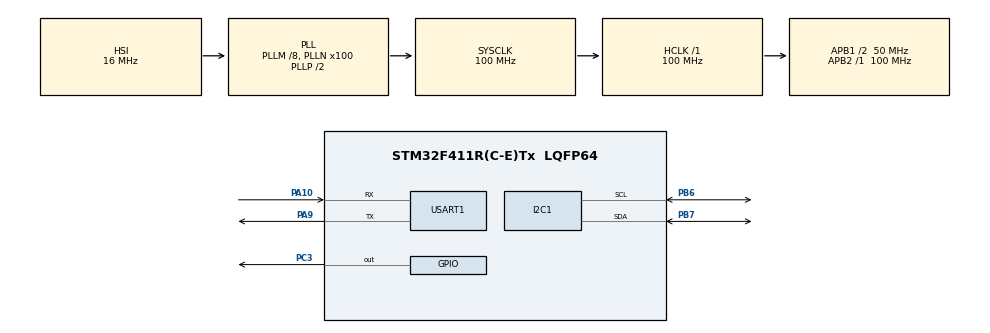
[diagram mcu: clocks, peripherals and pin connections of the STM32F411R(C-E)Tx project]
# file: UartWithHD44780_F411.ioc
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Mcu.Family=STM32F4
Mcu.Name=STM32F411R(C-E)Tx
Mcu.Package=LQFP64
NVIC.PriorityGroup=NVIC_PRIORITYGROUP_4
NVIC.USART1_IRQn=true\:0\:0\:false\:false\:true\:true\:true\:true
PA10.Mode=Asynchronous
PA10.Signal=USART1_RX
PA13.Mode=Serial_Wire
PA13.Signal=SYS_JTMS-SWDIO
PA14.Mode=Serial_Wire
PA14.Signal=SYS_JTCK-SWCLK
PA9.Mode=Asynchronous
PA9.Signal=USART1_TX
PB6.Mode=I2C
PB6.Signal=I2C1_SCL
PB7.Mode=I2C
PB7.Signal=I2C1_SDA
PC3.Signal=GPIO_Output
PH0\ -\ OSC_IN.Mode=HSE-External-Clock-Source
PH0\ -\ OSC_IN.Signal=RCC_OSC_IN
PH1\ -\ OSC_OUT.Mode=HSE-External-Clock-Source
PH1\ -\ OSC_OUT.Signal=RCC_OSC_OUT
ProjectManager.HeapSize=0x200
ProjectManager.StackSize=0x400
ProjectManager.TargetToolchain=STM32CubeIDE
RCC.48MHZClocksFreq_Value=50000000
RCC.AHBFreq_Value=100000000
RCC.APB1CLKDivider=RCC_HCLK_DIV2
RCC.APB1Freq_Value=50000000
RCC.APB1TimFreq_Value=100000000
RCC.APB2Freq_Value=100000000
RCC.APB2TimFreq_Value=100000000
RCC.CortexFreq_Value=100000000
RCC.HCLKFreq_Value=100000000
RCC.HSE_VALUE=25000000
RCC.HSI_VALUE=16000000
RCC.LSE_VALUE=32768
RCC.PLLM=8
RCC.PLLN=100
RCC.SYSCLKFreq_VALUE=100000000
RCC.SYSCLKSource=RCC_SYSCLKSOURCE_PLLCLK
RCC.VCOOutputFreq_Value=200000000
USART1.VirtualMode=VM_ASYNC
board=custom

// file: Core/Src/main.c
/* USER CODE BEGIN Header */
/**
  ******************************************************************************
  * @file           : main.c
  * @brief          : Main program body
  ******************************************************************************
  * @attention
  *
  * Copyright (c) 2023 STMicroelectronics.
  * All rights reserved.
  *
  * This software is licensed under terms that can be found in the LICENSE file
  * in the root directory of this software component.
  * If no LICENSE file comes with this software, it is provided AS-IS.
  *
  ******************************************************************************
  */
/* USER CODE END Header */
#include "main.h"
#include "stdio.h"
/* USER CODE BEGIN Includes */
#include "string.h"

#define LCD_ADDR (0x27<<1)

/* USER CODE END Includes */

/* USER CODE BEGIN PTD */
#include "LCD44780.h"
#include "Ring_buffer.h"
/* USER CODE END PTD */

I2C_HandleTypeDef hi2c1;

UART_HandleTypeDef huart1;

/* USER CODE BEGIN PV */
char RXBuff[40] = {0};
uint8_t LCDdata[BUFFER_SIZE] = {0};
RingBuff_t UartBuffer;
uint8_t FlagRecive = 0;
uint8_t DataUart[] = {0};
/* USER CODE END PV */

void SystemClock_Config(void);
static void MX_GPIO_Init(void);
static void MX_I2C1_Init(void);
static void MX_USART1_UART_Init(void);

/* USER CODE BEGIN 0 */
void HAL_UARTEx_RxEventCallback(UART_HandleTypeDef *huart, uint16_t size)
{
	if (huart == &huart1)
	{

		int len = strlen((const char*)RXBuff);
		Ring_WriteArray(&UartBuffer, (uint8_t *)RXBuff, len);

		FlagRecive = 1;
		HAL_UARTEx_ReceiveToIdle_IT(&huart1, (uint8_t *)RXBuff, BUFFER_SIZE);

	}
}

/* USER CODE END 0 */

int main(void)
{

  /* MCU Configuration--------------------------------------------------------*/

  /* Reset of all peripherals, Initializes the Flash interface and the Systick. */
  HAL_Init();

  /* Configure the system clock */
  SystemClock_Config();

  /* Initialize all configured peripherals */
  MX_GPIO_Init();
  MX_I2C1_Init();
  MX_USART1_UART_Init();
  /* USER CODE BEGIN 2 */

  LCD_Init();
  HAL_Delay(1000);

  HAL_UARTEx_ReceiveToIdle_IT(&huart1, (uint8_t *)RXBuff, BUFFER_SIZE);
  /* USER CODE END 2 */

  /* Infinite loop */
  while (1)
  {
//	  sprintf((char*)LCDdata, "%c", DataUart);

	  /* USER CODE BEGIN 3 */

		if (FlagRecive == 1)
		{

			char *DataUart = Ring_Read(&UartBuffer);
//			MakeStringForLCD((uint8_t*) DataUart);
			LCDClear();
			HAL_Delay(100);
			LCD_PrintText((uint8_t*) DataUart);
			memset(RXBuff, 0, 40);
			FlagRecive = 0;
		}

//	uint8_t Data[] = "UART transmit_OK";
//	LCD_PrintText(Data);
//		HAL_UART_Transmit(&huart1, pData, 20, 0xffff);

//	  __disable_irq();
//	  uint8_t data = BufferRead(&UartBuffer);
//	  __enable_irq();
//	  LCD_PrintText(&data);

  }
  /* USER CODE END 3 */
}

void SystemClock_Config(void)
{
  RCC_OscInitTypeDef RCC_OscInitStruct = {0};
  RCC_ClkInitTypeDef RCC_ClkInitStruct = {0};

  /** Configure the main internal regulator output voltage
  */
  __HAL_RCC_PWR_CLK_ENABLE();
  __HAL_PWR_VOLTAGESCALING_CONFIG(PWR_REGULATOR_VOLTAGE_SCALE1);

  /** Initializes the RCC Oscillators according to the specified parameters
  * in the RCC_OscInitTypeDef structure.
  */
  RCC_OscInitStruct.OscillatorType = RCC_OSCILLATORTYPE_HSI;
  RCC_OscInitStruct.HSIState = RCC_HSI_ON;
  RCC_OscInitStruct.HSICalibrationValue = RCC_HSICALIBRATION_DEFAULT;
  RCC_OscInitStruct.PLL.PLLState = RCC_PLL_ON;
  RCC_OscInitStruct.PLL.PLLSource = RCC_PLLSOURCE_HSI;
  RCC_OscInitStruct.PLL.PLLM = 8;
  RCC_OscInitStruct.PLL.PLLN = 100;
  RCC_OscInitStruct.PLL.PLLP = RCC_PLLP_DIV2;
  RCC_OscInitStruct.PLL.PLLQ = 4;
  if (HAL_RCC_OscConfig(&RCC_OscInitStruct) != HAL_OK)
  {
    Error_Handler();
  }

  /** Initializes the CPU, AHB and APB buses clocks
  */
  RCC_ClkInitStruct.ClockType = RCC_CLOCKTYPE_HCLK|RCC_CLOCKTYPE_SYSCLK
                              |RCC_CLOCKTYPE_PCLK1|RCC_CLOCKTYPE_PCLK2;
  RCC_ClkInitStruct.SYSCLKSource = RCC_SYSCLKSOURCE_PLLCLK;
  RCC_ClkInitStruct.AHBCLKDivider = RCC_SYSCLK_DIV1;
  RCC_ClkInitStruct.APB1CLKDivider = RCC_HCLK_DIV2;
  RCC_ClkInitStruct.APB2CLKDivider = RCC_HCLK_DIV1;

  if (HAL_RCC_ClockConfig(&RCC_ClkInitStruct, FLASH_LATENCY_3) != HAL_OK)
  {
    Error_Handler();
  }
}

static void MX_I2C1_Init(void)
{

  hi2c1.Instance = I2C1;
  hi2c1.Init.ClockSpeed = 100000;
  hi2c1.Init.DutyCycle = I2C_DUTYCYCLE_2;
  hi2c1.Init.OwnAddress1 = 0;
  hi2c1.Init.AddressingMode = I2C_ADDRESSINGMODE_7BIT;
  hi2c1.Init.DualAddressMode = I2C_DUALADDRESS_DISABLE;
  hi2c1.Init.OwnAddress2 = 0;
  hi2c1.Init.GeneralCallMode = I2C_GENERALCALL_DISABLE;
  hi2c1.Init.NoStretchMode = I2C_NOSTRETCH_DISABLE;
  if (HAL_I2C_Init(&hi2c1) != HAL_OK)
  {
    Error_Handler();
  }

}

static void MX_USART1_UART_Init(void)
{

  huart1.Instance = USART1;
  huart1.Init.BaudRate = 115200;
  huart1.Init.WordLength = UART_WORDLENGTH_8B;
  huart1.Init.StopBits = UART_STOPBITS_1;
  huart1.Init.Parity = UART_PARITY_NONE;
  huart1.Init.Mode = UART_MODE_TX_RX;
  huart1.Init.HwFlowCtl = UART_HWCONTROL_NONE;
  huart1.Init.OverSampling = UART_OVERSAMPLING_16;
  if (HAL_UART_Init(&huart1) != HAL_OK)
  {
    Error_Handler();
  }

}

static void MX_GPIO_Init(void)
{
  GPIO_InitTypeDef GPIO_InitStruct = {0};

  /* GPIO Ports Clock Enable */
  __HAL_RCC_GPIOH_CLK_ENABLE();
  __HAL_RCC_GPIOC_CLK_ENABLE();
  __HAL_RCC_GPIOA_CLK_ENABLE();
  __HAL_RCC_GPIOB_CLK_ENABLE();

  /*Configure GPIO pin Output Level */
  HAL_GPIO_WritePin(GPIOC, GPIO_PIN_3, GPIO_PIN_RESET);

  /*Configure GPIO pin : PC3 */
  GPIO_InitStruct.Pin = GPIO_PIN_3;
  GPIO_InitStruct.Mode = GPIO_MODE_OUTPUT_PP;
  GPIO_InitStruct.Pull = GPIO_NOPULL;
  GPIO_InitStruct.Speed = GPIO_SPEED_FREQ_LOW;
  HAL_GPIO_Init(GPIOC, &GPIO_InitStruct);

}

/* USER CODE BEGIN 4 */

/*-----------------------------------------------------------------*/
/* USER CODE END 4 */

void Error_Handler(void)
{
  __disable_irq();
  while (1)
  {
  }
}
